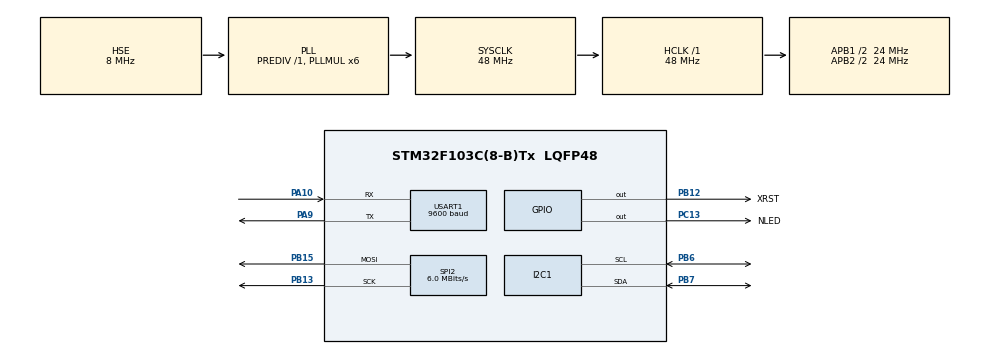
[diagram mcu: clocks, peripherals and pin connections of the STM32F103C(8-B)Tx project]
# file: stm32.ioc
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Dma.Request0=SPI2_TX
Dma.SPI2_TX.0.Direction=DMA_MEMORY_TO_PERIPH
Dma.SPI2_TX.0.Instance=DMA1_Channel5
Dma.SPI2_TX.0.MemDataAlignment=DMA_MDATAALIGN_BYTE
Dma.SPI2_TX.0.MemInc=DMA_MINC_ENABLE
Dma.SPI2_TX.0.Mode=DMA_NORMAL
Dma.SPI2_TX.0.PeriphDataAlignment=DMA_PDATAALIGN_BYTE
Dma.SPI2_TX.0.PeriphInc=DMA_PINC_DISABLE
Dma.SPI2_TX.0.Priority=DMA_PRIORITY_LOW
Mcu.Family=STM32F1
Mcu.Name=STM32F103C(8-B)Tx
Mcu.Package=LQFP48
NVIC.DMA1_Channel5_IRQn=true\:0\:0\:false\:false\:true
NVIC.PriorityGroup=NVIC_PRIORITYGROUP_4
NVIC.USART1_IRQn=true\:0\:0\:false\:false\:true
PA10.Mode=Asynchronous
PA10.Signal=USART1_RX
PA13.Mode=Serial_Wire
PA13.Signal=SYS_JTMS-SWDIO
PA14.Mode=Serial_Wire
PA14.Signal=SYS_JTCK-SWCLK
PA9.Mode=Asynchronous
PA9.Signal=USART1_TX
PB12.GPIO_Label=XRST
PB12.Signal=GPIO_Output
PB13.Mode=TX_Only_Simplex_Unidirect_Master
PB13.Signal=SPI2_SCK
PB15.Mode=TX_Only_Simplex_Unidirect_Master
PB15.Signal=SPI2_MOSI
PB6.Mode=I2C
PB6.Signal=I2C1_SCL
PB7.Mode=I2C
PB7.Signal=I2C1_SDA
PC13-TAMPER-RTC.GPIO_Label=NLED
PC13-TAMPER-RTC.PinState=GPIO_PIN_SET
PC13-TAMPER-RTC.Signal=GPIO_Output
PC14-OSC32_IN.Mode=LSE-External-Oscillator
PC14-OSC32_IN.Signal=RCC_OSC32_IN
PC15-OSC32_OUT.Mode=LSE-External-Oscillator
PC15-OSC32_OUT.Signal=RCC_OSC32_OUT
PD0-OSC_IN.Mode=HSE-External-Oscillator
PD0-OSC_IN.Signal=RCC_OSC_IN
PD1-OSC_OUT.Mode=HSE-External-Oscillator
PD1-OSC_OUT.Signal=RCC_OSC_OUT
ProjectManager.HeapSize=0x200
ProjectManager.StackSize=0x800
ProjectManager.TargetToolchain=EWARM
RCC.AHBFreq_Value=48000000
RCC.APB1CLKDivider=RCC_HCLK_DIV2
RCC.APB1Freq_Value=24000000
RCC.APB1TimFreq_Value=48000000
RCC.APB2CLKDivider=RCC_HCLK_DIV2
RCC.APB2Freq_Value=24000000
RCC.APB2TimFreq_Value=48000000
RCC.HCLKFreq_Value=48000000
RCC.HSIState=RCC_HSI_ON
RCC.PLLMUL=RCC_PLL_MUL6
RCC.PLLSourceVirtual=RCC_PLLSOURCE_HSE
RCC.RTCClockSelection=RCC_RTCCLKSOURCE_LSE
RCC.SYSCLKFreq_VALUE=48000000
RCC.SYSCLKSource=RCC_SYSCLKSOURCE_PLLCLK
RCC.USBFreq_Value=48000000
SPI2.BaudRatePrescaler=SPI_BAUDRATEPRESCALER_4
SPI2.CLKPhase=SPI_PHASE_2EDGE
SPI2.CalculateBaudRate=6.0 MBits/s
SPI2.Mode=SPI_MODE_MASTER
USART1.BaudRate=9600
VP_CRC_VS_CRC.Mode=CRC_Activate
VP_RTC_No_RTC_Output.Mode=RTC_OUT_NO
board=stm32

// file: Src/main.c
/**
  ******************************************************************************
  * File Name          : main.c
  * Description        : Main program body
  ******************************************************************************
  *
  * COPYRIGHT(c) 2016 STMicroelectronics
  *
  * Redistribution and use in source and binary forms, with or without modification,
  * are permitted provided that the following conditions are met:
  *   1. Redistributions of source code must retain the above copyright notice,
  *      this list of conditions and the following disclaimer.
  *   2. Redistributions in binary form must reproduce the above copyright notice,
  *      this list of conditions and the following disclaimer in the documentation
  *      and/or other materials provided with the distribution.
  *   3. Neither the name of STMicroelectronics nor the names of its contributors
  *      may be used to endorse or promote products derived from this software
  *      without specific prior written permission.
  *
  * THIS SOFTWARE IS PROVIDED BY THE COPYRIGHT HOLDERS AND CONTRIBUTORS "AS IS"
  * AND ANY EXPRESS OR IMPLIED WARRANTIES, INCLUDING, BUT NOT LIMITED TO, THE
  * IMPLIED WARRANTIES OF MERCHANTABILITY AND FITNESS FOR A PARTICULAR PURPOSE ARE
  * DISCLAIMED. IN NO EVENT SHALL THE COPYRIGHT HOLDER OR CONTRIBUTORS BE LIABLE
  * FOR ANY DIRECT, INDIRECT, INCIDENTAL, SPECIAL, EXEMPLARY, OR CONSEQUENTIAL
  * DAMAGES (INCLUDING, BUT NOT LIMITED TO, PROCUREMENT OF SUBSTITUTE GOODS OR
  * SERVICES; LOSS OF USE, DATA, OR PROFITS; OR BUSINESS INTERRUPTION) HOWEVER
  * CAUSED AND ON ANY THEORY OF LIABILITY, WHETHER IN CONTRACT, STRICT LIABILITY,
  * OR TORT (INCLUDING NEGLIGENCE OR OTHERWISE) ARISING IN ANY WAY OUT OF THE USE
  * OF THIS SOFTWARE, EVEN IF ADVISED OF THE POSSIBILITY OF SUCH DAMAGE.
  *
  ******************************************************************************
  */
#include "stm32f1xx_hal.h"

/* USER CODE BEGIN Includes */
#include "uart.h"
#include "leds.h"
#include "cli.h"
#include "clock.h"
#include "config.h"
#include "bh1750.h"
/* USER CODE END Includes */

CRC_HandleTypeDef hcrc;

I2C_HandleTypeDef hi2c1;

RTC_HandleTypeDef hrtc;

SPI_HandleTypeDef hspi2;
DMA_HandleTypeDef hdma_spi2_tx;

UART_HandleTypeDef huart1;

/* USER CODE BEGIN PV */
/* Private variables ---------------------------------------------------------*/

/* USER CODE END PV */

void SystemClock_Config(void);
void Error_Handler(void);
static void MX_GPIO_Init(void);
static void MX_DMA_Init(void);
static void MX_RTC_Init(void);
static void MX_USART1_UART_Init(void);
static void MX_SPI2_Init(void);
static void MX_I2C1_Init(void);
static void MX_CRC_Init(void);

/* USER CODE BEGIN PFP */
/* Private function prototypes -----------------------------------------------*/

/* USER CODE END PFP */

/* USER CODE BEGIN 0 */

#define RTC_USE_BATT

#ifdef RTC_USE_BATT
static inline HAL_StatusTypeDef dont_set_time(RTC_HandleTypeDef *hrtc, RTC_TimeTypeDef *sTime, uint32_t Format)
{
	return HAL_OK;
}

static inline HAL_StatusTypeDef dont_set_date(RTC_HandleTypeDef *hrtc, RTC_DateTypeDef *sDate, uint32_t Format)
{
	return HAL_OK;
}

// Skip setting time & date if battery powered
#define HAL_RTC_SetTime(h, time, fmt) dont_set_time(h, time, fmt)
#define HAL_RTC_SetDate(h, time, fmt) dont_set_date(h, time, fmt)
#endif

/* USER CODE END 0 */

int main(void)
{

  /* MCU Configuration----------------------------------------------------------*/

  /* Reset of all peripherals, Initializes the Flash interface and the Systick. */
  HAL_Init();

  /* Configure the system clock */
  SystemClock_Config();

  /* Initialize all configured peripherals */
  MX_GPIO_Init();
  MX_DMA_Init();
  MX_RTC_Init();
  MX_USART1_UART_Init();
  MX_SPI2_Init();
  MX_I2C1_Init();
  MX_CRC_Init();

  /* USER CODE BEGIN 2 */
  HAL_Delay(500);
  cfg_init();
  uart_init(&huart1);
  leds_init(&hspi2);
  bh1750init(&hi2c1);
  clk_init();
  /* USER CODE END 2 */

  /* Infinite loop */
  while (1)
  {

  /* USER CODE BEGIN 3 */
    cli_process();
    clk_process();
  }
  /* USER CODE END 3 */

}

/** System Clock Configuration
*/
void SystemClock_Config(void)
{

  RCC_OscInitTypeDef RCC_OscInitStruct;
  RCC_ClkInitTypeDef RCC_ClkInitStruct;
  RCC_PeriphCLKInitTypeDef PeriphClkInit;

  RCC_OscInitStruct.OscillatorType = RCC_OSCILLATORTYPE_HSE|RCC_OSCILLATORTYPE_LSE;
  RCC_OscInitStruct.HSEState = RCC_HSE_ON;
  RCC_OscInitStruct.HSEPredivValue = RCC_HSE_PREDIV_DIV1;
  RCC_OscInitStruct.LSEState = RCC_LSE_ON;
  RCC_OscInitStruct.PLL.PLLState = RCC_PLL_ON;
  RCC_OscInitStruct.PLL.PLLSource = RCC_PLLSOURCE_HSE;
  RCC_OscInitStruct.PLL.PLLMUL = RCC_PLL_MUL6;
  if (HAL_RCC_OscConfig(&RCC_OscInitStruct) != HAL_OK)
  {
    Error_Handler();
  }

  RCC_ClkInitStruct.ClockType = RCC_CLOCKTYPE_HCLK|RCC_CLOCKTYPE_SYSCLK
                              |RCC_CLOCKTYPE_PCLK1|RCC_CLOCKTYPE_PCLK2;
  RCC_ClkInitStruct.SYSCLKSource = RCC_SYSCLKSOURCE_PLLCLK;
  RCC_ClkInitStruct.AHBCLKDivider = RCC_SYSCLK_DIV1;
  RCC_ClkInitStruct.APB1CLKDivider = RCC_HCLK_DIV2;
  RCC_ClkInitStruct.APB2CLKDivider = RCC_HCLK_DIV2;
  if (HAL_RCC_ClockConfig(&RCC_ClkInitStruct, FLASH_LATENCY_1) != HAL_OK)
  {
    Error_Handler();
  }

  PeriphClkInit.PeriphClockSelection = RCC_PERIPHCLK_RTC;
  PeriphClkInit.RTCClockSelection = RCC_RTCCLKSOURCE_LSE;
  if (HAL_RCCEx_PeriphCLKConfig(&PeriphClkInit) != HAL_OK)
  {
    Error_Handler();
  }

  HAL_SYSTICK_Config(HAL_RCC_GetHCLKFreq()/1000);

  HAL_SYSTICK_CLKSourceConfig(SYSTICK_CLKSOURCE_HCLK);

  /* SysTick_IRQn interrupt configuration */
  HAL_NVIC_SetPriority(SysTick_IRQn, 0, 0);
}

/* CRC init function */
static void MX_CRC_Init(void)
{

  hcrc.Instance = CRC;
  if (HAL_CRC_Init(&hcrc) != HAL_OK)
  {
    Error_Handler();
  }

}

/* I2C1 init function */
static void MX_I2C1_Init(void)
{

  hi2c1.Instance = I2C1;
  hi2c1.Init.ClockSpeed = 100000;
  hi2c1.Init.DutyCycle = I2C_DUTYCYCLE_2;
  hi2c1.Init.OwnAddress1 = 0;
  hi2c1.Init.AddressingMode = I2C_ADDRESSINGMODE_7BIT;
  hi2c1.Init.DualAddressMode = I2C_DUALADDRESS_DISABLE;
  hi2c1.Init.OwnAddress2 = 0;
  hi2c1.Init.GeneralCallMode = I2C_GENERALCALL_DISABLE;
  hi2c1.Init.NoStretchMode = I2C_NOSTRETCH_DISABLE;
  if (HAL_I2C_Init(&hi2c1) != HAL_OK)
  {
    Error_Handler();
  }

}

/* RTC init function */
static void MX_RTC_Init(void)
{

  RTC_TimeTypeDef sTime;
  RTC_DateTypeDef DateToUpdate;

    /**Initialize RTC and set the Time and Date
    */
  hrtc.Instance = RTC;
  hrtc.Init.AsynchPrediv = RTC_AUTO_1_SECOND;
  hrtc.Init.OutPut = RTC_OUTPUTSOURCE_NONE;
  if (HAL_RTC_Init(&hrtc) != HAL_OK)
  {
    Error_Handler();
  }

  sTime.Hours = 0x1;
  sTime.Minutes = 0x0;
  sTime.Seconds = 0x0;

  if (HAL_RTC_SetTime(&hrtc, &sTime, RTC_FORMAT_BCD) != HAL_OK)
  {
    Error_Handler();
  }

  DateToUpdate.WeekDay = RTC_WEEKDAY_MONDAY;
  DateToUpdate.Month = RTC_MONTH_JANUARY;
  DateToUpdate.Date = 0x1;
  DateToUpdate.Year = 0x0;

  if (HAL_RTC_SetDate(&hrtc, &DateToUpdate, RTC_FORMAT_BCD) != HAL_OK)
  {
    Error_Handler();
  }

}

/* SPI2 init function */
static void MX_SPI2_Init(void)
{

  hspi2.Instance = SPI2;
  hspi2.Init.Mode = SPI_MODE_MASTER;
  hspi2.Init.Direction = SPI_DIRECTION_2LINES;
  hspi2.Init.DataSize = SPI_DATASIZE_8BIT;
  hspi2.Init.CLKPolarity = SPI_POLARITY_LOW;
  hspi2.Init.CLKPhase = SPI_PHASE_2EDGE;
  hspi2.Init.NSS = SPI_NSS_SOFT;
  hspi2.Init.BaudRatePrescaler = SPI_BAUDRATEPRESCALER_4;
  hspi2.Init.FirstBit = SPI_FIRSTBIT_MSB;
  hspi2.Init.TIMode = SPI_TIMODE_DISABLE;
  hspi2.Init.CRCCalculation = SPI_CRCCALCULATION_DISABLE;
  hspi2.Init.CRCPolynomial = 10;
  if (HAL_SPI_Init(&hspi2) != HAL_OK)
  {
    Error_Handler();
  }

}

/* USART1 init function */
static void MX_USART1_UART_Init(void)
{

  huart1.Instance = USART1;
  huart1.Init.BaudRate = 9600;
  huart1.Init.WordLength = UART_WORDLENGTH_8B;
  huart1.Init.StopBits = UART_STOPBITS_1;
  huart1.Init.Parity = UART_PARITY_NONE;
  huart1.Init.Mode = UART_MODE_TX_RX;
  huart1.Init.HwFlowCtl = UART_HWCONTROL_NONE;
  huart1.Init.OverSampling = UART_OVERSAMPLING_16;
  if (HAL_UART_Init(&huart1) != HAL_OK)
  {
    Error_Handler();
  }

}

static void MX_DMA_Init(void)
{
  /* DMA controller clock enable */
  __HAL_RCC_DMA1_CLK_ENABLE();

  /* DMA interrupt init */
  /* DMA1_Channel5_IRQn interrupt configuration */
  HAL_NVIC_SetPriority(DMA1_Channel5_IRQn, 0, 0);
  HAL_NVIC_EnableIRQ(DMA1_Channel5_IRQn);

}

/** Configure pins as
        * Analog
        * Input
        * Output
        * EVENT_OUT
        * EXTI
*/
static void MX_GPIO_Init(void)
{

  GPIO_InitTypeDef GPIO_InitStruct;

  /* GPIO Ports Clock Enable */
  __HAL_RCC_GPIOC_CLK_ENABLE();
  __HAL_RCC_GPIOD_CLK_ENABLE();
  __HAL_RCC_GPIOB_CLK_ENABLE();
  __HAL_RCC_GPIOA_CLK_ENABLE();

  /*Configure GPIO pin Output Level */
  HAL_GPIO_WritePin(NLED_GPIO_Port, NLED_Pin, GPIO_PIN_SET);

  /*Configure GPIO pin Output Level */
  HAL_GPIO_WritePin(XRST_GPIO_Port, XRST_Pin, GPIO_PIN_RESET);

  /*Configure GPIO pin : NLED_Pin */
  GPIO_InitStruct.Pin = NLED_Pin;
  GPIO_InitStruct.Mode = GPIO_MODE_OUTPUT_PP;
  GPIO_InitStruct.Speed = GPIO_SPEED_FREQ_LOW;
  HAL_GPIO_Init(NLED_GPIO_Port, &GPIO_InitStruct);

  /*Configure GPIO pin : XRST_Pin */
  GPIO_InitStruct.Pin = XRST_Pin;
  GPIO_InitStruct.Mode = GPIO_MODE_OUTPUT_PP;
  GPIO_InitStruct.Speed = GPIO_SPEED_FREQ_LOW;
  HAL_GPIO_Init(XRST_GPIO_Port, &GPIO_InitStruct);

}

void Error_Handler(void)
{
  /* USER CODE BEGIN Error_Handler */
  /* User can add his own implementation to report the HAL error return state */
  while(1)
  {
    HAL_GPIO_WritePin(NLED_GPIO_Port, NLED_Pin, GPIO_PIN_SET);
    HAL_Delay(100);
    HAL_GPIO_WritePin(NLED_GPIO_Port, NLED_Pin, GPIO_PIN_RESET);
    HAL_Delay(100);
  }
  /* USER CODE END Error_Handler */
}

#ifdef USE_FULL_ASSERT

/**
   * @brief Reports the name of the source file and the source line number
   * where the assert_param error has occurred.
   * @param file: pointer to the source file name
   * @param line: assert_param error line source number
   * @retval None
   */
void assert_failed(uint8_t* file, uint32_t line)
{
  /* USER CODE BEGIN 6 */
  /* User can add his own implementation to report the file name and line number,
    ex: printf("Wrong parameters value: file %s on line %d\r\n", file, line) */
  Error_Handler();
  /* USER CODE END 6 */

}

#endif

/************************ (C) COPYRIGHT STMicroelectronics *****END OF FILE****/
